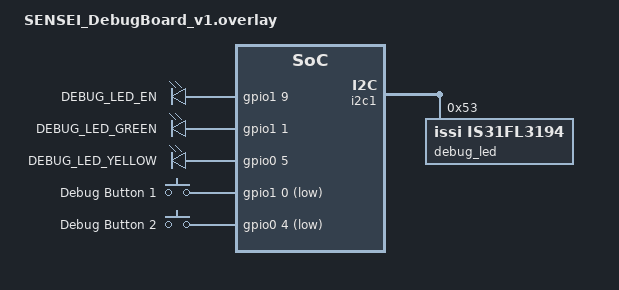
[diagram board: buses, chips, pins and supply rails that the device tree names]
// Copyright (c) 2025 ETH Zurich and University of Bologna
// SPDX-License-Identifier: Apache-2.0

 / {
    sensei_pwr: sensei_pwr {
		compatible = "gpio-leds";

        gpio_debug_led_pwr: gpio_debug_led_pwr {
			gpios = <&gpio1 9 GPIO_ACTIVE_HIGH>;
			label = "DEBUG_LED_EN";
		};
	};

    sensei_led: sensei_led {
		compatible = "gpio-leds";
        gpio_debug_led_green: gpio_debug_led_green {
            gpios = <&gpio1 1 GPIO_ACTIVE_HIGH>;
            label = "DEBUG_LED_GREEN";
        };
        gpio_debug_led_yellow: gpio_debug_led_yellow {
            gpios = <&gpio0 5 GPIO_ACTIVE_HIGH>;
            label = "DEBUG_LED_YELLOW";
        };
	};

    buttons {
		compatible = "gpio-keys";
		debug_button1: debug_button1 {
			label = "Debug Button 1";
			gpios = <&gpio1 0 (GPIO_ACTIVE_LOW | GPIO_PULL_UP)>;
		};
        debug_button2: debug_button2 {
			label = "Debug Button 2";
			gpios = <&gpio0 4 (GPIO_ACTIVE_LOW | GPIO_PULL_UP)>;
		};
	};
};

&i2c1 {
	debug_led: is31fl3194@53 {
		compatible = "issi,is31fl3194";
		reg = <0x53>;

		leds {
			label = "DEBUG RGB LED";
			color-mapping =
			<LED_COLOR_ID_RED>,
			<LED_COLOR_ID_GREEN>,
				<LED_COLOR_ID_BLUE>;
			current-limit = <10>;
		};
	  };
};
